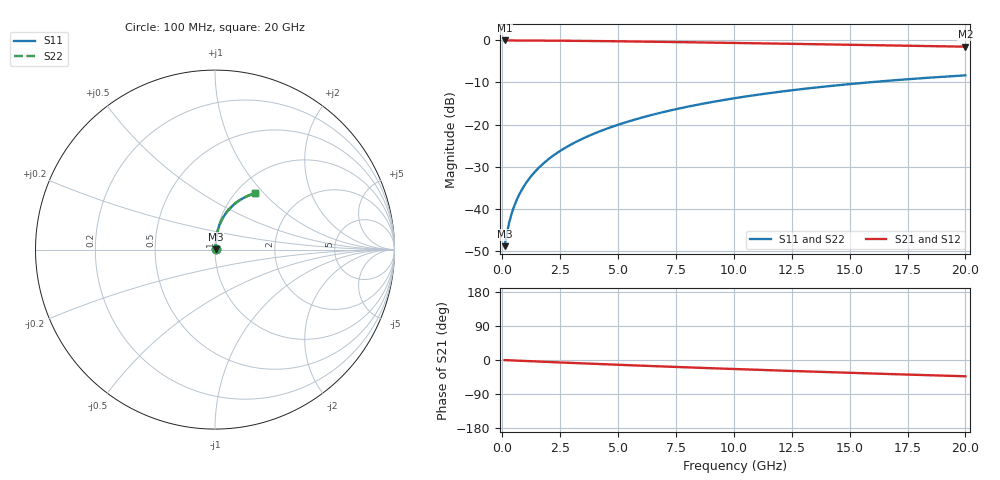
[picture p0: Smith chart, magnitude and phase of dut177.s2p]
! Touchstone file exported from HFSS 2024.1.0
!  File:  C:/UserFiles/LocalFiles/RDL_TSV_Batchsim/temp_RDL_top_177_1778686094.aedt
!  Generated:  11:30:28 PM May 13, 2026
!  Design:  RDL_top
!  Project:  temp_RDL_top_177_1778686094
!  Setup:  Setup1
!  Solution:  Sweep
! Variables:
!  dtsv = 10.80580581um
!  hbump = 3um
!  htsv = 56.99um
!  ldown = 100um
!  lrdl = 622.37um
!  p = 40
!  p1 = 48.26um
!  rhole = 1um
!  t = 450um
!  tdown = 3.915915916um
!  trdl = 3.87um
!  wdown = 15.38538539um
!  wrdl = 20.79um
# GHz S MA R 50.000000
! Terminal data exported
! Port[1] = Box2_T1
! Port[2] = Box2_T2
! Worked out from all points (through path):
!   200 points, 100 MHz to 20 GHz, reference 50 ohm
!   highest |S21| = -0.03 dB at 100 MHz (marker M1); lowest = -1.5 dB at 20 GHz (marker M2)
!   group delay of S21, straight-line fit = 5.92 ps
!   lowest |S11| = -48.9 dB at 100 MHz (marker M3), VSWR 1.01, Z = 50.3 + j0.214 ohm
!   |S11| at or under -10 dB: start of sweep to 15.77 GHz
!   |S22| runs from -48.9 to -8.3 dB; largest |S21 - S12| = 2e-15
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0.1  0.003608 36.1  0.9971 -0.3  0.9971 -0.3  0.003608 36.1
! Gamma 0 0 0 0
! Port Impedance 50 0 50 0
0.2  0.005177 53.7  0.9969 -0.5  0.9969 -0.5  0.005177 53.7
0.3  0.00693 62.3  0.9967 -0.8  0.9967 -0.8  0.00693 62.3
0.4  0.008721 67.4  0.9965 -1.1  0.9965 -1.1  0.008721 67.4
0.5  0.01053 70.8  0.9963 -1.3  0.9963 -1.3  0.01053 70.8
0.6  0.01235 73.3  0.9962 -1.6  0.9962 -1.6  0.01235 73.3
0.8  0.01605 76.6  0.9958 -2.1  0.9958 -2.1  0.01605 76.6
1.1  0.02167 79.6  0.9952 -2.9  0.9952 -2.9  0.02167 79.6
1.3  0.02547 80.8  0.9947 -3.4  0.9947 -3.4  0.02547 80.8
1.6  0.03122 81.9  0.9938 -4.2  0.9938 -4.2  0.03122 82.0
2.1  0.04091 83.0  0.992 -5.5  0.992 -5.5  0.04092 83.0
2.7  0.05272 83.5  0.9893 -7.0  0.9893 -7.0  0.05273 83.5
3.5  0.06874 83.4  0.9849 -9.0  0.9849 -9.0  0.06876 83.5
4.2  0.08302 83.0  0.9804 -10.7  0.9804 -10.7  0.08305 83.1
5  0.0996 82.2  0.9747 -12.6  0.9747 -12.6  0.09965 82.3
6.8  0.1376 79.7  0.9603 -16.8  0.9603 -16.8  0.1377 79.8
8.4  0.1716 76.9  0.9466 -20.3  0.9466 -20.3  0.1717 77.0
10.1  0.2072 73.7  0.9314 -24.0  0.9314 -24.0  0.2074 73.8
11.7  0.2397 70.5  0.9169 -27.3  0.9169 -27.3  0.24 70.6
13.4  0.2729 67.2  0.9013 -30.7  0.9013 -30.7  0.2732 67.2
16.7  0.3322 60.7  0.871 -37.0  0.871 -37.0  0.3326 60.8
20  0.3841 54.6  0.8411 -43.0  0.8411 -43.0  0.3846 54.6
